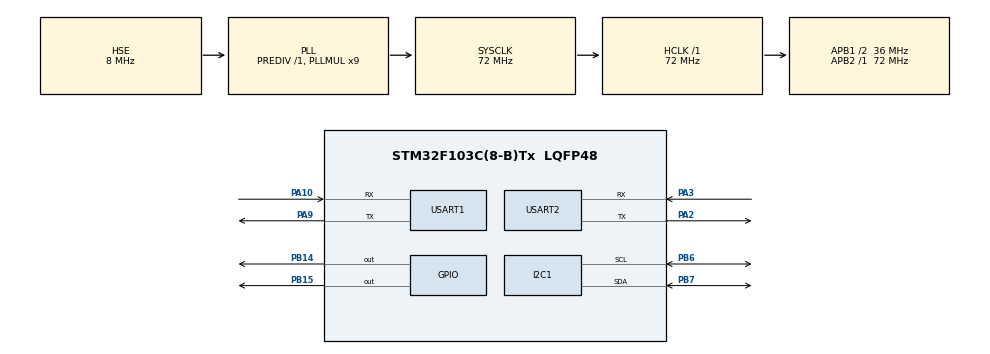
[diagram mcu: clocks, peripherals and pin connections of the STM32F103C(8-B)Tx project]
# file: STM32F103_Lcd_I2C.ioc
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Mcu.Family=STM32F1
Mcu.Name=STM32F103C(8-B)Tx
Mcu.Package=LQFP48
NVIC.I2C1_ER_IRQn=true\:0\:0\:false\:false\:true
NVIC.I2C1_EV_IRQn=true\:0\:0\:false\:false\:true
NVIC.PriorityGroup=NVIC_PRIORITYGROUP_4
NVIC.RTC_IRQn=true\:0\:0\:false\:false\:true
NVIC.USART1_IRQn=true\:0\:0\:false\:false\:true
NVIC.USART2_IRQn=true\:0\:0\:false\:false\:true
PA10.Mode=Asynchronous
PA10.Signal=USART1_RX
PA13.Mode=Serial_Wire
PA13.Signal=SYS_JTMS-SWDIO
PA14.Mode=Serial_Wire
PA14.Signal=SYS_JTCK-SWCLK
PA2.Mode=Asynchronous
PA2.Signal=USART2_TX
PA3.Mode=Asynchronous
PA3.Signal=USART2_RX
PA9.Mode=Asynchronous
PA9.Signal=USART1_TX
PB14.Signal=GPIO_Output
PB15.Signal=GPIO_Output
PB6.Mode=I2C
PB6.Signal=I2C1_SCL
PB7.Mode=I2C
PB7.Signal=I2C1_SDA
PD0-OSC_IN.Mode=HSE-External-Oscillator
PD0-OSC_IN.Signal=RCC_OSC_IN
PD1-OSC_OUT.Mode=HSE-External-Oscillator
PD1-OSC_OUT.Signal=RCC_OSC_OUT
ProjectManager.HeapSize=0x200
ProjectManager.StackSize=0x400
ProjectManager.TargetToolchain=MDK-ARM V5
RCC.AHBFreq_Value=72000000
RCC.APB1CLKDivider=RCC_HCLK_DIV2
RCC.APB1Freq_Value=36000000
RCC.APB1TimFreq_Value=72000000
RCC.APB2Freq_Value=72000000
RCC.APB2TimFreq_Value=72000000
RCC.HCLKFreq_Value=72000000
RCC.HSIState=RCC_HSI_ON
RCC.PLLMUL=RCC_PLL_MUL9
RCC.PLLSourceVirtual=RCC_PLLSOURCE_HSE
RCC.SYSCLKFreq_VALUE=72000000
RCC.SYSCLKSource=RCC_SYSCLKSOURCE_PLLCLK
RCC.USBFreq_Value=72000000
VP_RTC_VS_RTC_Activate.Mode=RTC_Enabled
board=STM32F103_Lcd_I2C

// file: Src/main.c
/**
  ******************************************************************************
  * File Name          : main.c
  * Description        : Main program body
  ******************************************************************************
  *
  * COPYRIGHT(c) 2017 STMicroelectronics
  *
  * Redistribution and use in source and binary forms, with or without modification,
  * are permitted provided that the following conditions are met:
  *   1. Redistributions of source code must retain the above copyright notice,
  *      this list of conditions and the following disclaimer.
  *   2. Redistributions in binary form must reproduce the above copyright notice,
  *      this list of conditions and the following disclaimer in the documentation
  *      and/or other materials provided with the distribution.
  *   3. Neither the name of STMicroelectronics nor the names of its contributors
  *      may be used to endorse or promote products derived from this software
  *      without specific prior written permission.
  *
  * THIS SOFTWARE IS PROVIDED BY THE COPYRIGHT HOLDERS AND CONTRIBUTORS "AS IS"
  * AND ANY EXPRESS OR IMPLIED WARRANTIES, INCLUDING, BUT NOT LIMITED TO, THE
  * IMPLIED WARRANTIES OF MERCHANTABILITY AND FITNESS FOR A PARTICULAR PURPOSE ARE
  * DISCLAIMED. IN NO EVENT SHALL THE COPYRIGHT HOLDER OR CONTRIBUTORS BE LIABLE
  * FOR ANY DIRECT, INDIRECT, INCIDENTAL, SPECIAL, EXEMPLARY, OR CONSEQUENTIAL
  * DAMAGES (INCLUDING, BUT NOT LIMITED TO, PROCUREMENT OF SUBSTITUTE GOODS OR
  * SERVICES; LOSS OF USE, DATA, OR PROFITS; OR BUSINESS INTERRUPTION) HOWEVER
  * CAUSED AND ON ANY THEORY OF LIABILITY, WHETHER IN CONTRACT, STRICT LIABILITY,
  * OR TORT (INCLUDING NEGLIGENCE OR OTHERWISE) ARISING IN ANY WAY OUT OF THE USE
  * OF THIS SOFTWARE, EVEN IF ADVISED OF THE POSSIBILITY OF SUCH DAMAGE.
  *
  ******************************************************************************
  */
#include "main.h"
#include "stm32f1xx_hal.h"
#include "i2c.h"
#include "rtc.h"
#include "usart.h"
#include "gpio.h"

/* USER CODE BEGIN Includes */
#include "lcd.h"
#include "stm32_tm1637.h"
/* USER CODE END Includes */

/* USER CODE BEGIN PV */
/* Private variables ---------------------------------------------------------*/

/* USER CODE END PV */

void SystemClock_Config(void);
void Error_Handler(void);

/* USER CODE BEGIN PFP */
/* Private function prototypes -----------------------------------------------*/

/* USER CODE END PFP */

int main(void)
{

  /* USER CODE BEGIN 1 */
  char str[100];
  /* USER CODE END 1 */

  /* MCU Configuration----------------------------------------------------------*/

  /* Reset of all peripherals, Initializes the Flash interface and the Systick. */
  HAL_Init();

  /* Configure the system clock */
  SystemClock_Config();

  /* Initialize all configured peripherals */
  MX_GPIO_Init();
  MX_I2C1_Init();
  MX_RTC_Init();
  MX_USART1_UART_Init();
  MX_USART2_UART_Init();

  /* USER CODE BEGIN 2 */
  LCD_ini();
	sprintf(str,"Stm32F407VG");
	LCD_String(str);
	LCD_SetPos(10, 2);
	sprintf(str,"ARM mc");
	LCD_String(str);
	HAL_Delay(2000);
	LCD_Clear();
	LCD_SetPos(4, 0);
	LCD_SendChar('s');
	LCD_SetPos(8, 1);
	LCD_SendChar('t');
	LCD_SetPos(12, 2);
	LCD_SendChar('m');
	LCD_SetPos(16, 3);
	LCD_SendChar('3');
	LCD_SendChar('2');
	HAL_Delay(2000);

	tm1637Init();
  // Optionally set brightness. 0 is off. By default, initialized to full brightness.
  tm1637SetBrightness(3);
  // Display the value "1234" and turn on the `:` that is between digits 2 and 3.
	//1-горит ':', 0-не горит ':'
  tm1637DisplayDecimal(1824, 1);
	//tm1637DisplayHex(0x1824, 1);
  /* USER CODE END 2 */

  /* Infinite loop */
  while (1)
  {

  }

}

/** System Clock Configuration
*/
void SystemClock_Config(void)
{

  RCC_OscInitTypeDef RCC_OscInitStruct;
  RCC_ClkInitTypeDef RCC_ClkInitStruct;
  RCC_PeriphCLKInitTypeDef PeriphClkInit;

    /**Initializes the CPU, AHB and APB busses clocks
    */
  RCC_OscInitStruct.OscillatorType = RCC_OSCILLATORTYPE_LSI|RCC_OSCILLATORTYPE_HSE;
  RCC_OscInitStruct.HSEState = RCC_HSE_ON;
  RCC_OscInitStruct.HSEPredivValue = RCC_HSE_PREDIV_DIV1;
  RCC_OscInitStruct.HSIState = RCC_HSI_ON;
  RCC_OscInitStruct.LSIState = RCC_LSI_ON;
  RCC_OscInitStruct.PLL.PLLState = RCC_PLL_ON;
  RCC_OscInitStruct.PLL.PLLSource = RCC_PLLSOURCE_HSE;
  RCC_OscInitStruct.PLL.PLLMUL = RCC_PLL_MUL9;
  if (HAL_RCC_OscConfig(&RCC_OscInitStruct) != HAL_OK)
  {
    Error_Handler();
  }

    /**Initializes the CPU, AHB and APB busses clocks
    */
  RCC_ClkInitStruct.ClockType = RCC_CLOCKTYPE_HCLK|RCC_CLOCKTYPE_SYSCLK
                              |RCC_CLOCKTYPE_PCLK1|RCC_CLOCKTYPE_PCLK2;
  RCC_ClkInitStruct.SYSCLKSource = RCC_SYSCLKSOURCE_PLLCLK;
  RCC_ClkInitStruct.AHBCLKDivider = RCC_SYSCLK_DIV1;
  RCC_ClkInitStruct.APB1CLKDivider = RCC_HCLK_DIV2;
  RCC_ClkInitStruct.APB2CLKDivider = RCC_HCLK_DIV1;

  if (HAL_RCC_ClockConfig(&RCC_ClkInitStruct, FLASH_LATENCY_2) != HAL_OK)
  {
    Error_Handler();
  }

  PeriphClkInit.PeriphClockSelection = RCC_PERIPHCLK_RTC;
  PeriphClkInit.RTCClockSelection = RCC_RTCCLKSOURCE_LSI;
  if (HAL_RCCEx_PeriphCLKConfig(&PeriphClkInit) != HAL_OK)
  {
    Error_Handler();
  }

    /**Configure the Systick interrupt time
    */
  HAL_SYSTICK_Config(HAL_RCC_GetHCLKFreq()/1000);

    /**Configure the Systick
    */
  HAL_SYSTICK_CLKSourceConfig(SYSTICK_CLKSOURCE_HCLK);

  /* SysTick_IRQn interrupt configuration */
  HAL_NVIC_SetPriority(SysTick_IRQn, 0, 0);
}

void Error_Handler(void)
{
  while(1)
  {
  }
}

/************************ (C) COPYRIGHT STMicroelectronics *****END OF FILE****/
